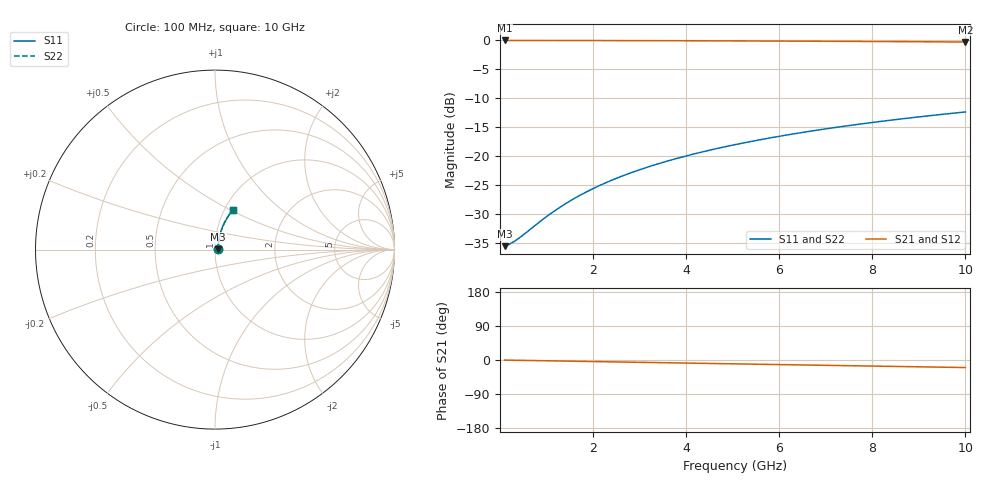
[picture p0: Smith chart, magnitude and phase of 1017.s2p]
# Hz S RI R 50.00
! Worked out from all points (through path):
!   100 points, 100 MHz to 10 GHz, reference 50 ohm
!   highest |S21| = -0.15 dB at 100 MHz (marker M1); lowest = -0.4 dB at 10 GHz (marker M2)
!   group delay of S21, straight-line fit = 5.54 ps
!   lowest |S11| = -35.5 dB at 100 MHz (marker M3), VSWR 1.03, Z = 51.7 + j0.251 ohm
!   |S11| at or under -10 dB: start of sweep to end of sweep
!   |S22| runs from -35.5 to -12.4 dB; largest |S21 - S12| = 0
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1e8  0.0166 0.00242  0.9834 -0.00348  0.9834 -0.00348  0.0166 0.00242
2e8  0.0168 0.00484  0.9832 -0.00697  0.9832 -0.00697  0.0168 0.00484
3e8  0.0169 0.00726  0.9831 -0.0104  0.9831 -0.0104  0.0169 0.00726
4e8  0.017 0.00968  0.983 -0.0139  0.983 -0.0139  0.017 0.00968
9e8  0.0178 0.0218  0.9822 -0.0313  0.9822 -0.0313  0.0178 0.0218
1.2e9  0.0184 0.029  0.9815 -0.0417  0.9815 -0.0417  0.0184 0.029
1.5e9  0.0192 0.0362  0.9807 -0.0521  0.9807 -0.0521  0.0192 0.0362
1.8e9  0.0201 0.0434  0.9797 -0.0625  0.9797 -0.0625  0.0201 0.0434
2.1e9  0.0212 0.0506  0.9786 -0.0728  0.9786 -0.0728  0.0212 0.0506
2.5e9  0.0228 0.0601  0.9768 -0.0866  0.9768 -0.0866  0.0228 0.0601
2.9e9  0.0247 0.0695  0.9748 -0.1003  0.9748 -0.1003  0.0247 0.0695
3.4e9  0.0274 0.0812  0.9719 -0.1173  0.9719 -0.1173  0.0274 0.0812
3.8e9  0.0299 0.0905  0.9692 -0.1308  0.9692 -0.1308  0.0299 0.0905
4.2e9  0.0327 0.0997  0.9663 -0.1443  0.9663 -0.1443  0.0327 0.0997
4.6e9  0.0356 0.1087  0.9631 -0.1576  0.9631 -0.1576  0.0356 0.1087
5.1e9  0.0397 0.1199  0.9588 -0.1741  0.9588 -0.1741  0.0397 0.1199
5.9e9  0.047 0.1375  0.951 -0.2002  0.951 -0.2002  0.047 0.1375
6.7e9  0.0552 0.1545  0.9422 -0.2258  0.9422 -0.2258  0.0552 0.1545
7.5e9  0.0642 0.1709  0.9325 -0.2508  0.9325 -0.2508  0.0642 0.1709
8.4e9  0.0754 0.1887  0.9205 -0.2781  0.9205 -0.2781  0.0754 0.1887
9.2e9  0.0862 0.2037  0.9089 -0.3017  0.9089 -0.3017  0.0862 0.2037
1e10  0.0976 0.2181  0.8965 -0.3247  0.8965 -0.3247  0.0976 0.2181
